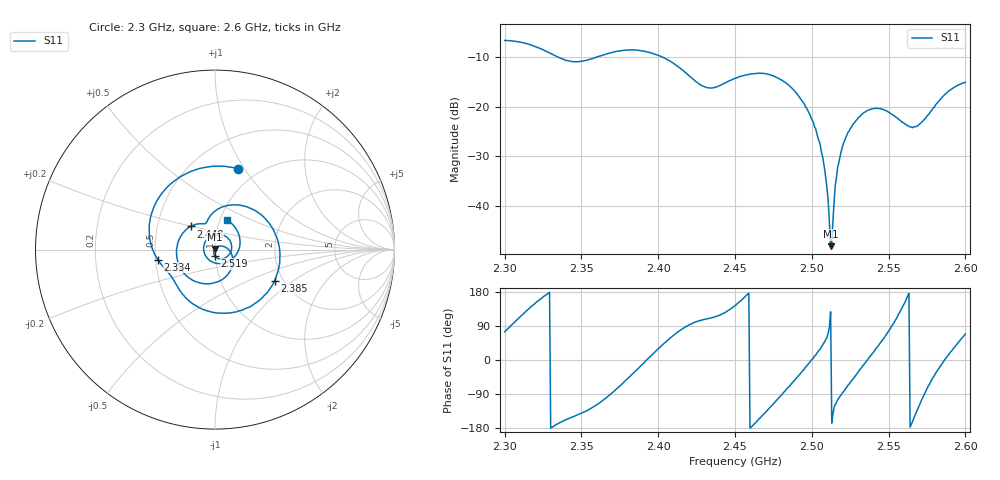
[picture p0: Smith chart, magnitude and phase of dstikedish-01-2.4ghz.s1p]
! NanoVNA-App
! Date: 2026-05-22 20:02:00
! Start: 2.3GHz Stop: 2.6GHz Points: 401
! S-Parameter data: F S11
# Hz S RI R 50
!  Frequency  S11_Real  S11_Imag
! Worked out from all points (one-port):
!   401 points, 2.3 GHz to 2.6 GHz, reference 50 ohm
!   lowest |S11| = -48.1 dB at 2.512 GHz (marker M1), VSWR 1.01, Z = 49.8 + j0.311 ohm
!   |S11| at or under -10 dB: 2.335 GHz to 2.359 GHz (24.35 MHz wide, 1.04 % of centre); 2.403 GHz to end of sweep
!   S11 on the Smith chart (normalised r, x): 2.3 GHz: 0.81, +0.93; 2.334 GHz: 0.51, -0.06; 2.385 GHz: 1.80, -0.73; 2.448 GHz: 0.74, +0.20; 2.519 GHz: 0.99, -0.07; 2.6 GHz: 1.07, +0.37
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2.3e9  0.1268 0.4508
2.31725e9  -0.3271 0.2658
2.33375e9  -0.3192 -0.0552
2.3375e9  -0.2908 -0.0925
2.36e9  -0.1509 -0.2795
2.375e9  0.1327 -0.3418
2.3855e9  0.3316 -0.1753
2.4005e9  0.2805 0.1721
2.4125e9  0.0755 0.2469
2.432e9  -0.0503 0.1477
2.44775e9  -0.1357 0.1291
2.45e9  -0.1561 0.1153
2.465e9  -0.2035 -0.078
2.47625e9  -0.0677 -0.1892
2.4875e9  0.0771 -0.1304
2.4965e9  0.0938 -0.0284
2.504e9  0.0451 0.0183
2.5085e9  0.0148 0.0174
2.51225e9  -0.00237 0.00313
2.51375e9  -0.00556 -0.00431
2.516e9  -0.00733 -0.0175
2.519e9  -0.00131 -0.0349
2.525e9  0.0304 -0.0519
2.5415e9  0.085 0.0455
2.5625e9  -0.0636 0.0113
2.57825e9  0.0582 -0.0729
2.5895e9  0.1401 0.0407
2.6e9  0.0643 0.1652
